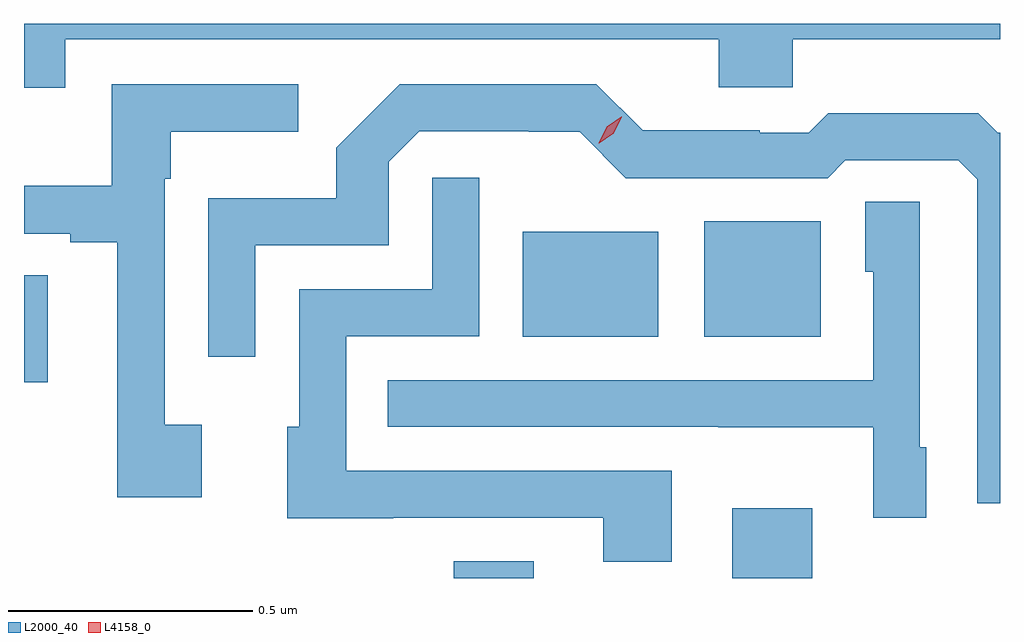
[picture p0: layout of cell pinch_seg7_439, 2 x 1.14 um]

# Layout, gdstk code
import gdstk
lib = gdstk.Library(unit=1e-6, precision=1e-09)
def R(c, l, rs):  # rectangles x0, y0, x1, y1
    for r in rs: c.add(gdstk.rectangle(r[:2], r[2:], *l))
def P(c, l, *ps):  # polygons
    for p in ps: c.add(gdstk.Polygon(p, *l))
L2000_40 = (2000, 40)
L4158_0 = (4158, 0)

pinch_seg7_439 = lib.new_cell('pinch_seg7_439')
R(pinch_seg7_439, L2000_40, [(309.299,1080.764,309.463,1080.799), (309.869,1080.764,310.033,1080.907), (308.418,1081.166,308.467,1081.385), (309.44,1081.259,309.718,1081.474), (309.812,1081.259,310.051,1081.495)])
P(pinch_seg7_439, L2000_40, [(308.503,1081.868),(309.842,1081.868),(309.842,1081.77),(309.993,1081.77),(309.993,1081.868),(310.418,1081.868),(310.418,1081.9),(308.418,1081.9),(308.418,1081.769),(308.503,1081.769)],
  [(310.418,1081.677),(310.413,1081.677),(310.373,1081.717),(310.066,1081.717),(310.026,1081.677),(309.926,1081.677),(309.926,1081.682),(309.686,1081.682),(309.591,1081.776),(309.188,1081.776),(309.058,1081.646),(309.058,1081.543),(308.796,1081.543),(308.796,1081.218),(308.892,1081.218),(308.892,1081.446),(309.165,1081.446),(309.165,1081.617),(309.228,1081.68),(309.452,1081.68),(309.452,1081.679),(309.557,1081.679),(309.651,1081.584),(310.065,1081.584),(310.101,1081.62),(310.332,1081.62),(310.371,1081.581),(310.371,1080.918),(310.418,1080.918)],
  [(308.782,1081.078),(308.706,1081.078),(308.706,1081.583),(308.719,1081.583),(308.719,1081.679),(308.98,1081.679),(308.98,1081.776),(308.598,1081.776),(308.598,1081.568),(308.418,1081.568),(308.418,1081.47),(308.513,1081.47),(308.513,1081.452),(308.609,1081.452),(308.609,1080.93),(308.782,1080.93)],
  [(309.745,1080.984),(309.078,1080.984),(309.078,1081.26),(309.351,1081.26),(309.351,1081.585),(309.255,1081.585),(309.255,1081.356),(308.982,1081.356),(308.982,1081.074),(308.957,1081.074),(308.957,1080.887),(309.175,1080.887),(309.175,1080.888),(309.605,1080.888),(309.605,1080.798),(309.745,1080.798)],
  [(310.267,1081.032),(310.254,1081.032),(310.254,1081.535),(310.142,1081.535),(310.142,1081.392),(310.158,1081.392),(310.158,1081.17),(309.163,1081.17),(309.163,1081.074),(309.841,1081.074),(309.841,1081.073),(310.158,1081.073),(310.158,1080.888),(310.267,1080.888)])
P(pinch_seg7_439, L4158_0, [(309.596,1081.655),(309.596,1081.655),(309.612,1081.689),(309.642,1081.71),(309.643,1081.71),(309.643,1081.71),(309.627,1081.676),(309.597,1081.655)])

lib.write_gds('pinch_seg7_439.gds')
